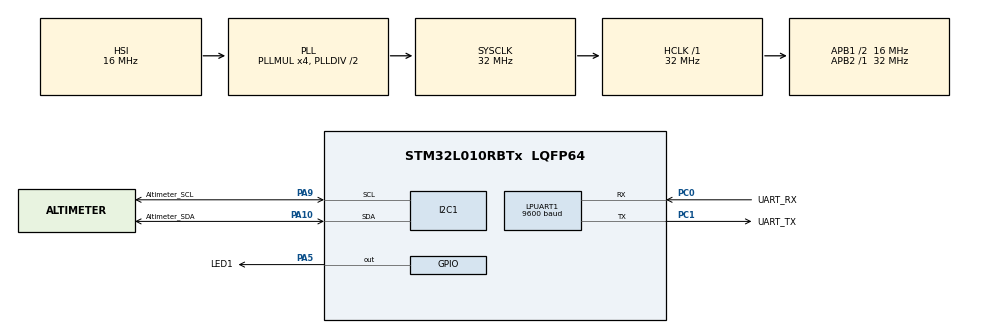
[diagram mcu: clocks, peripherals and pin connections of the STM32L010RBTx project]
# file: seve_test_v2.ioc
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FREERTOS.Tasks01=defaultTask,0,128,StartDefaultTask,Default,NULL,Dynamic,NULL,NULL
I2C1.Timing=0x00303D5B
LPUART1.BaudRate=9600
Mcu.Family=STM32L0
Mcu.Name=STM32L010RBTx
Mcu.Package=LQFP64
PA10.GPIO_Label=Altimeter_SDA
PA10.Mode=I2C
PA10.Signal=I2C1_SDA
PA13.Mode=Serial_Wire
PA13.Signal=SYS_SWDIO
PA14.Mode=Serial_Wire
PA14.Signal=SYS_SWCLK
PA5.GPIO_Label=LED1
PA5.Signal=GPIO_Output
PA9.GPIO_Label=Altimeter_SCL
PA9.Mode=I2C
PA9.Signal=I2C1_SCL
PC0.GPIO_Label=UART_RX
PC0.Mode=Asynchronous
PC0.Signal=LPUART1_RX
PC1.GPIO_Label=UART_TX
PC1.Mode=Asynchronous
PC1.Signal=LPUART1_TX
ProjectManager.HeapSize=0x800
ProjectManager.StackSize=0x800
ProjectManager.TargetToolchain=STM32CubeIDE
RCC.AHBFreq_Value=32000000
RCC.APB1CLKDivider=RCC_HCLK_DIV2
RCC.APB1Freq_Value=16000000
RCC.APB1TimFreq_Value=32000000
RCC.APB2Freq_Value=32000000
RCC.APB2TimFreq_Value=32000000
RCC.HCLKFreq_Value=32000000
RCC.HSE_VALUE=8000000
RCC.HSI16_VALUE=16000000
RCC.HSI_VALUE=16000000
RCC.LSE_VALUE=32768
RCC.MSI_VALUE=2097000
RCC.PLLMUL=RCC_PLLMUL_4
RCC.SYSCLKFreq_VALUE=32000000
RCC.SYSCLKSource=RCC_SYSCLKSOURCE_PLLCLK
RCC.VCOOutputFreq_Value=64000000
VP_FREERTOS_VS_CMSIS_V1.Mode=CMSIS_V1
board=custom

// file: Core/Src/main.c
/* USER CODE BEGIN Header */
/**
  ******************************************************************************
  * @file           : main.c
  * @brief          : Main program body
  ******************************************************************************
  * @attention
  *
  * Copyright (c) 2023 STMicroelectronics.
  * All rights reserved.
  *
  * This software is licensed under terms that can be found in the LICENSE file
  * in the root directory of this software component.
  * If no LICENSE file comes with this software, it is provided AS-IS.
  *
  ******************************************************************************
  */
/* USER CODE END Header */
#include "main.h"
#include "cmsis_os.h"
#include "i2c.h"
#include "usart.h"
#include "gpio.h"

/* USER CODE BEGIN Includes */
#include <stdlib.h>
#include <stdio.h>
#include "bmp3.h"
#include "bmp390_task.h"
#include "common_porting.h"
/* USER CODE END Includes */

/* USER CODE BEGIN PTD */
extern volatile uint8_t int1_flag;
extern volatile uint8_t int2_flag;
/* USER CODE END PTD */

void SystemClock_Config(void);
void MX_FREERTOS_Init(void);

int main(void)
{
  /* USER CODE BEGIN 1 */
	int8_t rslt;
	uint16_t settings_sel;
	struct bmp3_dev dev;
	struct bmp3_data data = { 0 };
	struct bmp3_settings settings = { 0 };
	struct bmp3_status status = { { 0 } };

	/* Interface reference is given as a parameter
	 *         For I2C : BMP3_I2C_INTF
	 *         For SPI : BMP3_SPI_INTF
	 */
	rslt = bmp3_interface_init(&dev, BMP3_I2C_INTF);
	bmp3_check_rslt("bmp3_interface_init", rslt);

	rslt = bmp3_init(&dev);
	bmp3_check_rslt("bmp3_init", rslt);

	settings.int_settings.drdy_en = BMP3_DISABLE;
	settings.press_en = BMP3_ENABLE;
	settings.temp_en = BMP3_ENABLE;

	settings.odr_filter.press_os = BMP3_OVERSAMPLING_4X;
	settings.odr_filter.temp_os = BMP3_NO_OVERSAMPLING;
	settings.odr_filter.odr = BMP3_ODR_100_HZ;

	settings_sel = BMP3_SEL_PRESS_EN | BMP3_SEL_TEMP_EN | BMP3_SEL_PRESS_OS | BMP3_SEL_TEMP_OS | BMP3_SEL_ODR |
				   BMP3_SEL_DRDY_EN;

	rslt = bmp3_set_sensor_settings(settings_sel, &settings, &dev);
	bmp3_check_rslt("bmp3_set_sensor_settings", rslt);

	settings.op_mode = BMP3_MODE_NORMAL;
	rslt = bmp3_set_op_mode(&settings, &dev);
	bmp3_check_rslt("bmp3_set_op_mode", rslt);

	/* USER CODE END 1 */

	/* MCU Configuration--------------------------------------------------------*/

	/* Reset of all peripherals, Initializes the Flash interface and the Systick. */
	HAL_Init();

	/* Configure the system clock */
	SystemClock_Config();

	/* Initialize all configured peripherals */
	MX_GPIO_Init();
	MX_LPUART1_UART_Init();
	MX_I2C1_Init();

	/* USER CODE BEGIN 2 */
	HAL_UART_MspInit(&hlpuart1);
	//HAL_I2C_MspInit(&hi2c1);

	/* USER CODE END 2 */

	/* Call init function for freertos objects (in freertos.c) */
	MX_FREERTOS_Init();

	/* Start scheduler */
	//osKernelStart();
	/* We should never get here as control is now taken by the scheduler */
	/* Infinite loop */
	/* USER CODE BEGIN WHILE */
	HAL_UART_Transmit(&hlpuart1, "Hello!\n", 7, 100);
	//HAL_Delay (5000);

	while (1)
	{
		HAL_GPIO_TogglePin (LED1_GPIO_Port, LED1_Pin);

		rslt = bmp3_get_status(&status, &dev);
		bmp3_check_rslt("bmp3_get_status", rslt);

		//rslt = get_sensor_status(&status, &dev);
		//bmp3_check_rslt("bmp3_get_status", rslt);

		/*while (!((rslt == BMP3_OK) && (status.intr.drdy == BMP3_ENABLE)))
		{
			rslt = bmp3_get_status(&status, &dev);
			bmp3_check_rslt("bmp3_get_status", rslt);
		}
		HAL_GPIO_TogglePin (LED1_GPIO_Port, LED1_Pin);*/

		/* Read temperature and pressure data iteratively based on data ready interrupt */
		if ((rslt == BMP3_OK) && (status.intr.drdy == BMP3_ENABLE))
		{
			/*
			 * First parameter indicates the type of data to be read
			 * BMP3_PRESS_TEMP : To read pressure and temperature data
			 * BMP3_TEMP       : To read only temperature data
			 * BMP3_PRESS      : To read only pressure data
			 */
			rslt = bmp3_get_sensor_data(BMP3_PRESS_TEMP, &data, &dev);
			bmp3_check_rslt("bmp3_get_sensor_data", rslt);

			/* NOTE : Read status register again to clear data ready interrupt status */
			rslt = bmp3_get_status(&status, &dev);
			bmp3_check_rslt("bmp3_get_status", rslt);

			//#ifdef BMP3_FLOAT_COMPENSATION
			HAL_UART_Transmit(&hlpuart1, "Data:\n", 6, 100);
			HAL_UART_Transmit(&hlpuart1, &data.temperature, sizeof(data.temperature), 1000);
			HAL_UART_Transmit(&hlpuart1, &data.pressure,  sizeof(data.pressure), 1000);
		}

		//HAL_UART_Transmit(&hlpuart1, "not ready\n", 10, 100);

		HAL_GPIO_TogglePin (LED1_GPIO_Port, LED1_Pin);

	/* USER CODE END WHILE */

	}
}

void SystemClock_Config(void)
{
  RCC_OscInitTypeDef RCC_OscInitStruct = {0};
  RCC_ClkInitTypeDef RCC_ClkInitStruct = {0};
  RCC_PeriphCLKInitTypeDef PeriphClkInit = {0};

  /** Configure the main internal regulator output voltage
  */
  __HAL_PWR_VOLTAGESCALING_CONFIG(PWR_REGULATOR_VOLTAGE_SCALE1);

  /** Initializes the RCC Oscillators according to the specified parameters
  * in the RCC_OscInitTypeDef structure.
  */
  RCC_OscInitStruct.OscillatorType = RCC_OSCILLATORTYPE_HSI;
  RCC_OscInitStruct.HSIState = RCC_HSI_ON;
  RCC_OscInitStruct.HSICalibrationValue = RCC_HSICALIBRATION_DEFAULT;
  RCC_OscInitStruct.PLL.PLLState = RCC_PLL_ON;
  RCC_OscInitStruct.PLL.PLLSource = RCC_PLLSOURCE_HSI;
  RCC_OscInitStruct.PLL.PLLMUL = RCC_PLLMUL_4;
  RCC_OscInitStruct.PLL.PLLDIV = RCC_PLLDIV_2;
  if (HAL_RCC_OscConfig(&RCC_OscInitStruct) != HAL_OK)
  {
    Error_Handler();
  }

  /** Initializes the CPU, AHB and APB buses clocks
  */
  RCC_ClkInitStruct.ClockType = RCC_CLOCKTYPE_HCLK|RCC_CLOCKTYPE_SYSCLK
                              |RCC_CLOCKTYPE_PCLK1|RCC_CLOCKTYPE_PCLK2;
  RCC_ClkInitStruct.SYSCLKSource = RCC_SYSCLKSOURCE_PLLCLK;
  RCC_ClkInitStruct.AHBCLKDivider = RCC_SYSCLK_DIV1;
  RCC_ClkInitStruct.APB1CLKDivider = RCC_HCLK_DIV2;
  RCC_ClkInitStruct.APB2CLKDivider = RCC_HCLK_DIV1;

  if (HAL_RCC_ClockConfig(&RCC_ClkInitStruct, FLASH_LATENCY_1) != HAL_OK)
  {
    Error_Handler();
  }
  PeriphClkInit.PeriphClockSelection = RCC_PERIPHCLK_LPUART1|RCC_PERIPHCLK_I2C1;
  PeriphClkInit.Lpuart1ClockSelection = RCC_LPUART1CLKSOURCE_PCLK1;
  PeriphClkInit.I2c1ClockSelection = RCC_I2C1CLKSOURCE_PCLK1;
  if (HAL_RCCEx_PeriphCLKConfig(&PeriphClkInit) != HAL_OK)
  {
    Error_Handler();
  }
}

void Error_Handler(void)
{
  __disable_irq();
  while (1)
  {
  }
}
